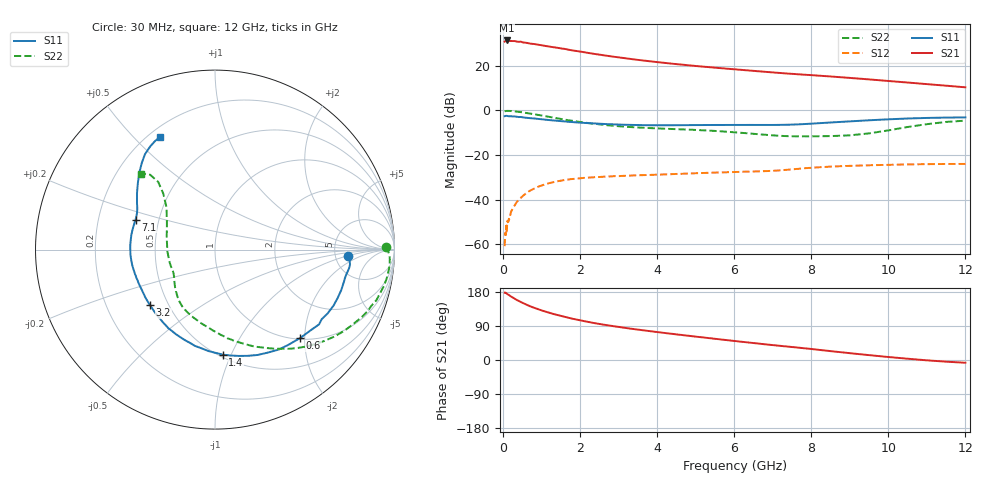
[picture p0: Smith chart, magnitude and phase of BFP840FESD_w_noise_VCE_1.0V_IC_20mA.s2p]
! Infineon Technologies  Discrete & RF Semiconductors
! BFP840FESD
! VCE =  1.0 V,  IC =  20 mA
! Common Emitter S-Parameters:  May 2012
# GHz  S  MA  R  50
!  f  S11  S21  S12  S22
! GHz  MAG  ANG  MAG  ANG  MAG  ANG  MAG  ANG
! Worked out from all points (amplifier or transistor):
!   103 points, 30 MHz to 12 GHz, reference 50 ohm
!   highest |S21| = 31.4 dB at 80 MHz (marker M1)
!   |S21| within 3 dB of that: start of sweep to 1.284 GHz
!   unconditionally stable (mu >= 1): 5.665 GHz to end of sweep
!   at 400 MHz: K = 0.12, MSG = 35.5 dB, |S12| = -40.2 dB
!   at 3.7 GHz: K = 0.75, MSG = 25.6 dB, |S12| = -29.0 dB
!   at 12 GHz: K = 1.14, MAG = 14.9 dB, |S12| = -24.0 dB
!   lowest NFmin = 0.89 dB at 450 MHz
!   S11 on the Smith chart (normalised r, x): 30 MHz: 6.59, -1.02; 600 MHz: 1.03, -1.90; 1.4 GHz: 0.52, -0.93; 3.2 GHz: 0.40, -0.32; 7.1 GHz: 0.37, +0.16; 12 GHz: 0.24, +0.60
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0.03  0.742 -2.7  34.98 177.5  0.0009 78.1  0.9506 0.9
0.05  0.7525 -4.4  36.28 177.9  0.0018 114.2  0.9648 -0.5
0.08  0.7559 -7.0  37.17 175.5  0.0019 92.9  0.9744 -2.5
0.13  0.7422 -11.8  35.95 172.1  0.0032 82.9  0.9761 -5.8
0.3  0.7304 -25.3  35.97 161.3  0.0076 76.4  0.9509 -14.9
0.35  0.7214 -29.5  35.08 158.1  0.0089 78.6  0.9425 -17.4
0.45  0.7138 -35.7  34.95 153.0  0.0109 73.1  0.9178 -21.8
0.5  0.6981 -39.9  33.62 150.6  0.012 71.5  0.9025 -24.3
0.6  0.6841 -46.0  32.87 146.0  0.0141 68.8  0.8742 -28.5
0.9  0.645 -62.8  29.89 134.1  0.0194 60.6  0.7937 -39.9
1.1  0.619 -73.0  27.89 127.4  0.0222 56.0  0.7408 -46.8
1.4  0.5867 -85.7  25.46 118.8  0.0257 50.2  0.6658 -56.1
1.8  0.5477 -101.9  22.16 108.8  0.029 43.9  0.5835 -67.8
2.1  0.5248 -111.6  20.22 102.5  0.0307 40.6  0.5343 -75.4
2.6  0.4978 -125.9  17.28 93.3  0.0326 36.5  0.4761 -86.1
3.2  0.4759 -139.5  14.7 84.2  0.0343 34.1  0.4288 -96.9
4.1  0.4649 -156.6  11.89 72.4  0.0364 32.4  0.3917 -109.5
6.1  0.4723 174.7  8.241 49.1  0.0417 32.0  0.3186 -133.1
7.1  0.4732 159.3  7.012 38.2  0.0447 34.3  0.2721 -147.2
8.5  0.5365 144.1  5.78 23.4  0.0549 31.9  0.2655 -177.6
10.5  0.6592 126.3  4.227 3.4  0.0615 24.7  0.425 132.7
12  0.6977 115.9  3.302 -7.3  0.063 22.2  0.591 134.2
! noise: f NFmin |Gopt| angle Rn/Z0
0.45  0.89  0.1  3  0.13
0.9  0.92  0.1  10  0.14
1.5  0.93  0.09  16  0.13
1.9  0.94  0.08  31  0.13
2.4  0.94  0.08  51  0.14
3.5  0.94  0.08  87  0.14
5.5  1  0.08  160  0.12
8  1.1  0.11  -155  0.14
10  1.2  0.28  -116  0.17
12  1.39  0.44  -101  0.2
